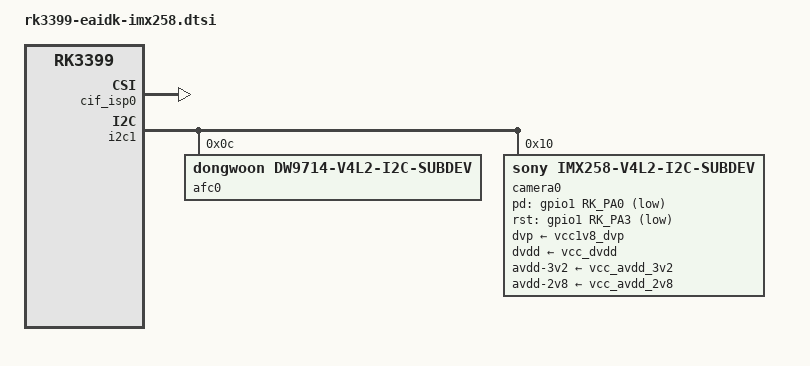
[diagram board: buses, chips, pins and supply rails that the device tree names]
/*
 * Copyright (c) 2018 Fuzhou Rockchip Electronics Co., Ltd
 *
 * This file is dual-licensed: you can use it either under the terms
 * of the GPL or the X11 license, at your option. Note that this dual
 * licensing only applies to this file, and not this project as a
 * whole.
 *
 *  a) This file is free software; you can redistribute it and/or
 *     modify it under the terms of the GNU General Public License as
 *     published by the Free Software Foundation; either version 2 of the
 *     License, or (at your option) any later version.
 *
 *     This file is distributed in the hope that it will be useful,
 *     but WITHOUT ANY WARRANTY; without even the implied warranty of
 *     MERCHANTABILITY or FITNESS FOR A PARTICULAR PURPOSE.  See the
 *     GNU General Public License for more details.
 *
 * Or, alternatively,
 *
 *  b) Permission is hereby granted, free of charge, to any person
 *     obtaining a copy of this software and associated documentation
 *     files (the "Software"), to deal in the Software without
 *     restriction, including without limitation the rights to use,
 *     copy, modify, merge, publish, distribute, sublicense, and/or
 *     sell copies of the Software, and to permit persons to whom the
 *     Software is furnished to do so, subject to the following
 *     conditions:
 *
 *     The above copyright notice and this permission notice shall be
 *     included in all copies or substantial portions of the Software.
 *
 *     THE SOFTWARE IS PROVIDED "AS IS", WITHOUT WARRANTY OF ANY KIND,
 *     EXPRESS OR IMPLIED, INCLUDING BUT NOT LIMITED TO THE WARRANTIES
 *     OF MERCHANTABILITY, FITNESS FOR A PARTICULAR PURPOSE AND
 *     NONINFRINGEMENT. IN NO EVENT SHALL THE AUTHORS OR COPYRIGHT
 *     HOLDERS BE LIABLE FOR ANY CLAIM, DAMAGES OR OTHER LIABILITY,
 *     WHETHER IN AN ACTION OF CONTRACT, TORT OR OTHERWISE, ARISING
 *     FROM, OUT OF OR IN CONNECTION WITH THE SOFTWARE OR THE USE OR
 *     OTHER DEALINGS IN THE SOFTWARE.
 */

/ {
	compatible = "rockchip,rk3399-eaidk-imx258","rockchip,rk3399";
	
	cif_isp0: cif_isp@ff910000 {
		compatible = "rockchip,rk3399-cif-isp";
		rockchip,grf = <&grf>;
		reg = <0x0 0xff910000 0x0 0x4000>, <0x0 0xff968000 0x0 0x8000>;
		reg-names = "register", "dsihost-register";
		clocks =
			<&cru ACLK_ISP0_NOC>, <&cru ACLK_ISP0_WRAPPER>,
			<&cru HCLK_ISP0_NOC>, <&cru HCLK_ISP0_WRAPPER>,
			<&cru SCLK_ISP0>, <&cru SCLK_DPHY_RX0_CFG>,
			<&cru SCLK_CIF_OUT>, <&cru SCLK_CIF_OUT>,
			<&cru SCLK_MIPIDPHY_REF>;
		clock-names =
			"aclk_isp0_noc", "aclk_isp0_wrapper",
			"hclk_isp0_noc", "hclk_isp0_wrapper",
			"clk_isp0", "pclk_dphyrx",
			"clk_cif_out", "clk_cif_pll",
			"pclk_dphy_ref";
		interrupts = <GIC_SPI 43 IRQ_TYPE_LEVEL_HIGH 0>;
		interrupt-names = "cif_isp10_irq";
		power-domains = <&power RK3399_PD_ISP0>;
		rockchip,isp,iommu-enable = <1>;
		iommus = <&isp0_mmu>;
		status = "disabled";
	};

	cif_isp1: cif_isp@ff920000 {
		compatible = "rockchip,rk3399-cif-isp";
		rockchip,grf = <&grf>;
		reg = <0x0 0xff920000 0x0 0x4000>, <0x0 0xff968000 0x0 0x8000>;
		reg-names = "register", "dsihost-register";
		clocks =
		<&cru ACLK_ISP1_NOC>, <&cru ACLK_ISP1_WRAPPER>,
		<&cru HCLK_ISP1_NOC>, <&cru HCLK_ISP1_WRAPPER>,
		<&cru SCLK_ISP1>, <&cru PCLK_ISP1_WRAPPER>,
		<&cru SCLK_DPHY_TX1RX1_CFG>,
		<&cru PCLK_MIPI_DSI1>, <&cru SCLK_MIPIDPHY_CFG>,
		<&cru SCLK_CIF_OUT>, <&cru SCLK_CIF_OUT>,
		<&cru SCLK_MIPIDPHY_REF>;
		clock-names =
			"aclk_isp1_noc", "aclk_isp1_wrapper",
			"hclk_isp1_noc", "hclk_isp1_wrapper",
			"clk_isp1", "pclkin_isp1",
			"pclk_dphytxrx",
			"pclk_mipi_dsi","mipi_dphy_cfg",
			"clk_cif_out", "clk_cif_pll",
			"pclk_dphy_ref";
		interrupts = <GIC_SPI 44 IRQ_TYPE_LEVEL_HIGH 0>;
		interrupt-names = "cif_isp10_irq";
		power-domains = <&power RK3399_PD_ISP1>;
		rockchip,isp,iommu-enable = <1>;
		iommus = <&isp1_mmu>;
		status = "disabled";
	};
};


&cif_isp0 {
	rockchip,camera-modules-attached = <&camera0>;
	status = "okay";
};

&isp0_mmu {
	status = "okay";
};

&cif_isp1 {
//	rockchip,camera-modules-attached = <&camera1>;
//	status = "okay";
};

&isp1_mmu {
	status = "okay";
};

&i2c1 {
	status = "okay";

	afc0: af-controller@0 {
		status = "okay";
		compatible = "dongwoon,dw9714-v4l2-i2c-subdev";
		reg = <0x0C>;

		rockchip,vcm-start-current = <20>;
		rockchip,vcm-rated-current = <76>;
		rockchip,vcm-step-mode = <0>;
	};

	camera0: camera-module@10 {
		status = "okay";
		compatible = "sony,imx258-v4l2-i2c-subdev";
		reg = <0x10>;
		device_type = "v4l2-i2c-subdev";
		clocks = <&cru SCLK_CIF_OUT>;
		clock-names = "clk_cif_out";

		pinctrl-names = "rockchip,camera_default";
		pinctrl-0 = <&cam_default_pins>;

		rockchip,pd-gpio = <&gpio1 RK_PA0 GPIO_ACTIVE_LOW>;
		//rockchip,pwr-gpio = <&gpio4 RK_PD1 GPIO_ACTIVE_HIGH>;
		rockchip,rst-gpio = <&gpio1 RK_PA3 GPIO_ACTIVE_LOW>;

		dvp-supply = <&vcc1v8_dvp>;
		dvdd-supply = <&vcc_dvdd>;		//gpio1_c3 gpio4_d1
		avdd-3v2-supply = <&vcc_avdd_3v2>;	//gpio1_c2
		avdd-2v8-supply = <&vcc_avdd_2v8>;	//ldo2

		rockchip,camera-module-regulator-names = "dvp", "dvdd", "avdd-2v8";
		// OV9750: dvp 1.8V, dvdd 1.8v, avdd 3.2v
		//rockchip,camera-module-regulator-voltages = <1800000 1800000 3200000>;
		// IMX258: dvp 1.8V, dvdd 1.2v, avdd 2.8v
		rockchip,camera-module-regulator-voltages = <1800000 1200000 2800000>;
		rockchip,camera-module-mclk-name = "clk_cif_out";
		rockchip,camera-module-facing = "back";
		rockchip,camera-module-name = "MDG001";
		rockchip,camera-module-len-name = "NONE";
		rockchip,camera-module-fov-h = "82.4";
		rockchip,camera-module-fov-v = "60";
		rockchip,camera-module-orientation = <0>;
		rockchip,camera-module-iq-flip = <0>;
		rockchip,camera-module-iq-mirror = <0>;
		rockchip,camera-module-flip = <1>;
		rockchip,camera-module-mirror = <1>;
		rockchip,af-ctrl = <&afc0>;

		rockchip,camera-module-defrect0 = <2096 1560 0 0 2096 1560>;
		rockchip,camera-module-defrect1 = <4208 3120 0 0 4208 3120>;
		rockchip,camera-module-flash-support = <0>;
		rockchip,camera-module-mipi-dphy-index = <0>;
		//as-master = <1>;
	};

/*
	camera1: camera-module@10 {
		status = "okay";
		compatible = "sony,imx258-v4l2-i2c-subdev";
		reg = <0x10>;
		device_type = "v4l2-i2c-subdev";
		clocks = <&cru SCLK_CIF_OUT>;
		clock-names = "clk_cif_out";

		pinctrl-names = "rockchip,camera_default";
		pinctrl-0 = <&cam_default_pins>;

		rockchip,pd-gpio = <&gpio1 RK_PA1 GPIO_ACTIVE_LOW>;
		//rockchip,pwr-gpio = <&gpio4 RK_PD1 GPIO_ACTIVE_HIGH>;
		rockchip,rst-gpio = <&gpio1 RK_PA4 GPIO_ACTIVE_LOW>;

		dvp-supply = <&vcc1v8_dvp>;
		dvdd-supply = <&vcc_dvdd>;		//gpio1_c3 gpio4_d1
		avdd-3v2-supply = <&vcc_avdd_3v2>;	//gpio1_c2
		avdd-2v8-supply = <&vcc_avdd_2v8>;	//ldo2

		rockchip,camera-module-regulator-names = "dvp", "dvdd", "avdd-2v8";
		// OV9750: dvp 1.8V, dvdd 1.8v, avdd 3.2v
		//rockchip,camera-module-regulator-voltages = <1800000 1800000 3200000>;
		// IMX258: dvp 1.8V, dvdd 1.2v, avdd 2.8v
		rockchip,camera-module-regulator-voltages = <1800000 1200000 2800000>;
		rockchip,camera-module-mclk-name = "clk_cif_out";
		rockchip,camera-module-facing = "back";
		rockchip,camera-module-name = "MDG001";
		rockchip,camera-module-len-name = "NONE";
		rockchip,camera-module-fov-h = "82.4";
		rockchip,camera-module-fov-v = "60";
		rockchip,camera-module-orientation = <0>;
		rockchip,camera-module-iq-flip = <0>;
		rockchip,camera-module-iq-mirror = <0>;
		rockchip,camera-module-flip = <1>;
		rockchip,camera-module-mirror = <1>;
		rockchip,af-ctrl = <&afc0>;

		rockchip,camera-module-defrect0 = <2096 1560 0 0 2096 1560>;
		rockchip,camera-module-defrect1 = <4208 3120 0 0 4208 3120>;
		rockchip,camera-module-flash-support = <0>;
		rockchip,camera-module-mipi-dphy-index = <1>;
		//as-master = <1>;
	};
*/

};

